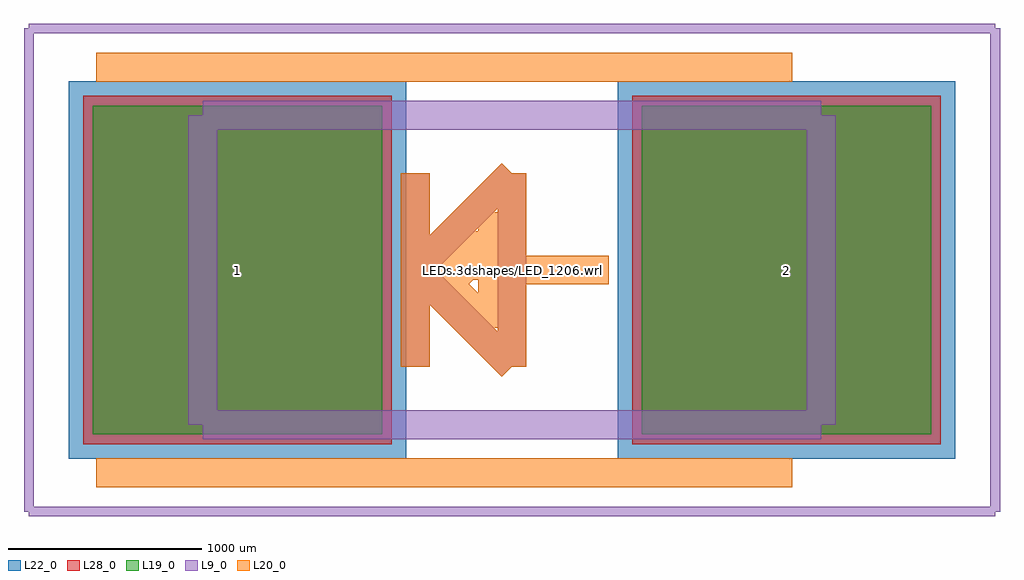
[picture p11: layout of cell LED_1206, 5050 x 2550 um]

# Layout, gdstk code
import gdstk
lib = gdstk.Library(unit=1e-6, precision=1e-09)
def R(c, l, rs):  # rectangles x0, y0, x1, y1
    for r in rs: c.add(gdstk.rectangle(r[:2], r[2:], *l))
L9_0 = (9, 0)
L19_0 = (19, 0)
L20_0 = (20, 0)
L22_0 = (22, 0)
L28_0 = (28, 0)

led_1206 = lib.new_cell('LED_1206')
R(led_1206, L19_0, [(-2168.69,-850.43,-671.03,850.43), (671.03,-850.43,2168.69,850.43)])
R(led_1206, L22_0, [(-2293.69,-975.43,-546.03,975.43), (546.03,-975.43,2293.69,975.43)])
R(led_1206, L28_0, [(-2218.69,-900.43,-621.03,900.43), (621.03,-900.43,2218.69,900.43)])
led_1206.add(gdstk.FlexPath([(2500,-1250),(2500,1250)], 50, ends="flush", simple_path=True, layer=9, datatype=0))  # L9_0
led_1206.add(gdstk.FlexPath([(-2500,-1250),(2500,-1250)], 50, ends="flush", simple_path=True, layer=9, datatype=0))  # L9_0
led_1206.add(gdstk.FlexPath([(-2500,1250),(-2500,-1250)], 50, ends="flush", simple_path=True, layer=9, datatype=0))  # L9_0
led_1206.add(gdstk.FlexPath([(2500,1250),(-2500,1250)], 50, ends="flush", simple_path=True, layer=9, datatype=0))  # L9_0
led_1206.add(gdstk.FlexPath([(0,-500),(-500,0)], 149.998, ends="flush", simple_path=True, layer=20, datatype=0))  # L20_0
led_1206.add(gdstk.FlexPath([(0,500),(0,-500)], 149.998, ends="flush", simple_path=True, layer=20, datatype=0))  # L20_0
led_1206.add(gdstk.FlexPath([(-500,0),(0,500)], 149.998, ends="flush", simple_path=True, layer=20, datatype=0))  # L20_0
led_1206.add(gdstk.FlexPath([(0,0),(500,0)], 149.998, ends="flush", simple_path=True, layer=20, datatype=0))  # L20_0
led_1206.add(gdstk.FlexPath([(-500,500),(-500,-500)], 149.998, ends="flush", simple_path=True, layer=20, datatype=0))  # L20_0
led_1206.add(gdstk.FlexPath([(-200,-50),(-250,0)], 149.998, ends="flush", simple_path=True, layer=20, datatype=0))  # L20_0
led_1206.add(gdstk.FlexPath([(-200,200),(-200,-50)], 149.998, ends="flush", simple_path=True, layer=20, datatype=0))  # L20_0
led_1206.add(gdstk.FlexPath([(-400,0),(-200,200)], 149.998, ends="flush", simple_path=True, layer=20, datatype=0))  # L20_0
led_1206.add(gdstk.FlexPath([(-100,-300),(-400,0)], 149.998, ends="flush", simple_path=True, layer=20, datatype=0))  # L20_0
led_1206.add(gdstk.FlexPath([(-100,300),(-100,-300)], 149.998, ends="flush", simple_path=True, layer=20, datatype=0))  # L20_0
led_1206.add(gdstk.FlexPath([(-2150,1050),(1450,1050)], 149.998, ends="flush", simple_path=True, layer=20, datatype=0))  # L20_0
led_1206.add(gdstk.FlexPath([(-2150,-1050),(1450,-1050)], 149.998, ends="flush", simple_path=True, layer=20, datatype=0))  # L20_0
led_1206.add(gdstk.FlexPath([(-1600,800),(1600,800)], 149.998, ends="flush", simple_path=True, layer=9, datatype=0))  # L9_0
led_1206.add(gdstk.FlexPath([(1600,800),(1600,-800)], 149.998, ends="flush", simple_path=True, layer=9, datatype=0))  # L9_0
led_1206.add(gdstk.FlexPath([(1600,-800),(-1600,-800)], 149.998, ends="flush", simple_path=True, layer=9, datatype=0))  # L9_0
led_1206.add(gdstk.FlexPath([(-1600,-800),(-1600,800)], 149.998, ends="flush", simple_path=True, layer=9, datatype=0))  # L9_0
led_1206.add(gdstk.FlexPath([(0,500),(0,-500)], 149.998, ends="flush", simple_path=True, layer=9, datatype=0))  # L9_0
led_1206.add(gdstk.FlexPath([(0,-500),(-500,0)], 149.998, ends="flush", simple_path=True, layer=9, datatype=0))  # L9_0
led_1206.add(gdstk.FlexPath([(-500,0),(0,500)], 149.998, ends="flush", simple_path=True, layer=9, datatype=0))  # L9_0
led_1206.add(gdstk.FlexPath([(-500,500),(-500,-500)], 149.998, ends="flush", simple_path=True, layer=9, datatype=0))  # L9_0
led_1206.add(gdstk.Label('LEDs.3dshapes/LED_1206.wrl', (0,0), layer=12, texttype=0))
led_1206.add(gdstk.Label('1', (-1419.86,0), layer=28, texttype=0))
led_1206.add(gdstk.Label('2', (1419.86,0), layer=28, texttype=0))
led_1206.add(gdstk.Label('type', (0,-2000), layer=9, texttype=0))
led_1206.add(gdstk.Label('devicename', (0,2000), layer=9, texttype=0))

lib.write_gds('LED_1206.gds')
